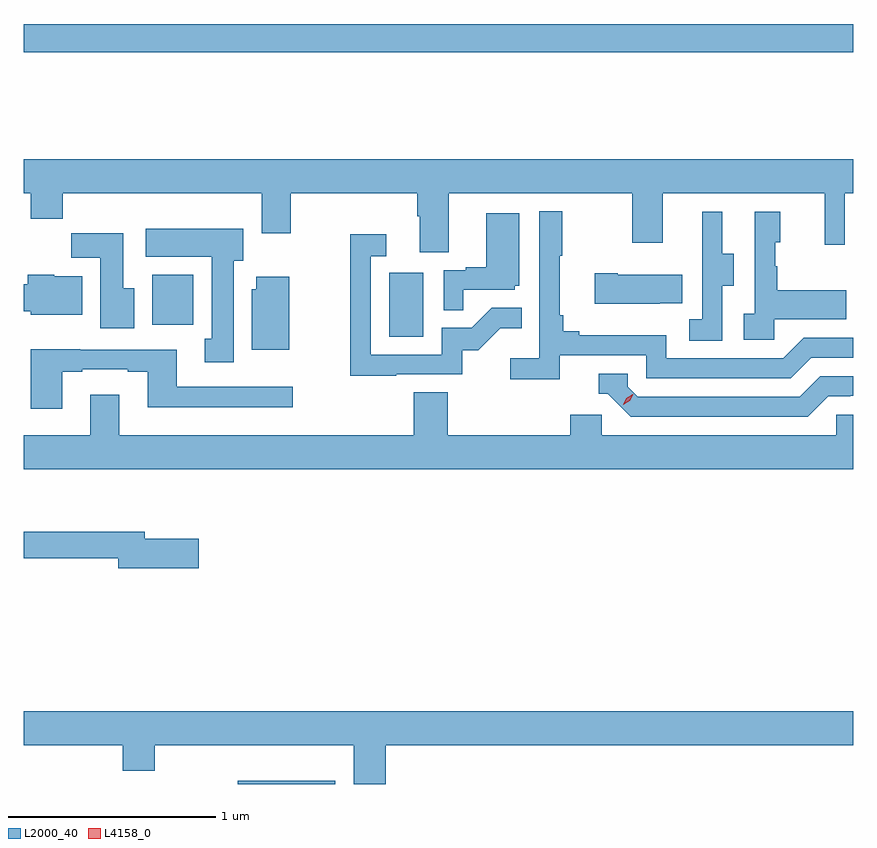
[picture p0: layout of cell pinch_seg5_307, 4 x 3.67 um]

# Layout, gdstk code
import gdstk
lib = gdstk.Library(unit=1e-6, precision=1e-09)
def R(c, l, rs):  # rectangles x0, y0, x1, y1
    for r in rs: c.add(gdstk.rectangle(r[:2], r[2:], *l))
def P(c, l, *ps):  # polygons
    for p in ps: c.add(gdstk.Polygon(p, *l))
L2000_40 = (2000, 40)
L4158_0 = (4158, 0)

pinch_seg5_307 = lib.new_cell('pinch_seg5_307')
R(pinch_seg5_307, L2000_40, [(911.619,872.557,912.088,872.572), (912.35,874.716,912.514,875.023), (911.207,874.772,911.404,875.014), (910.587,876.088,914.587,876.224)])
P(pinch_seg5_307, L2000_40, [(912.637,875.408),(913.522,875.408),(913.522,875.169),(913.669,875.169),(913.669,875.408),(914.45,875.408),(914.45,875.16),(914.547,875.16),(914.547,875.408),(914.587,875.408),(914.587,875.572),(910.587,875.572),(910.587,875.408),(910.619,875.408),(910.619,875.284),(910.775,875.284),(910.775,875.408),(911.735,875.408),(911.735,875.214),(911.875,875.214),(911.875,875.408),(912.485,875.408),(912.485,875.296),(912.497,875.296),(912.497,875.122),(912.637,875.122)],
  [(913.172,874.626),(913.59,874.626),(913.59,874.515),(914.287,874.515),(914.386,874.614),(914.587,874.614),(914.587,874.71),(914.349,874.71),(914.25,874.611),(913.686,874.611),(913.686,874.723),(913.267,874.723),(913.267,874.742),(913.19,874.742),(913.19,874.819),(913.171,874.819),(913.171,875.107),(913.183,875.107),(913.183,875.32),(913.074,875.32),(913.074,874.612),(912.933,874.612),(912.933,874.51),(913.172,874.51)],
  [(914.208,874.799),(914.555,874.799),(914.555,874.939),(914.221,874.939),(914.221,875.054),(914.211,875.054),(914.211,875.172),(914.236,875.172),(914.236,875.317),(914.112,875.317),(914.112,874.826),(914.061,874.826),(914.061,874.701),(914.208,874.701)],
  [(913.956,874.96),(914.011,874.96),(914.011,875.115),(913.957,875.115),(913.957,875.317),(913.859,875.317),(913.859,875.103),(913.86,875.103),(913.86,874.799),(913.797,874.799),(913.797,874.696),(913.956,874.696)],
  [(912.707,874.941),(912.954,874.941),(912.954,874.962),(912.976,874.962),(912.976,875.311),(912.818,875.311),(912.818,875.05),(912.719,875.05),(912.719,875.037),(912.612,875.037),(912.612,874.843),(912.707,874.843)],
  [(911.599,875.082),(911.644,875.082),(911.644,875.236),(911.175,875.236),(911.175,875.102),(911.492,875.102),(911.492,874.706),(911.459,874.706),(911.459,874.593),(911.599,874.593)],
  [(911.119,874.948),(911.065,874.948),(911.065,875.215),(910.816,875.215),(910.816,875.096),(910.955,875.096),(910.955,874.755),(911.119,874.755)],
  [(912.383,874.533),(912.702,874.533),(912.702,874.65),(912.778,874.65),(912.885,874.757),(912.989,874.757),(912.989,874.856),(912.845,874.856),(912.747,874.758),(912.603,874.758),(912.603,874.629),(912.261,874.629),(912.261,875.103),(912.334,875.103),(912.334,875.209),(912.16,875.209),(912.16,874.528),(912.383,874.528)],
  [(913.655,874.877),(913.763,874.877),(913.763,875.014),(913.453,875.014),(913.453,875.022),(913.341,875.022),(913.341,874.874),(913.655,874.874)],
  [(910.867,875.008),(910.734,875.008),(910.734,875.014),(910.604,875.014),(910.604,874.968),(910.587,874.968),(910.587,874.838),(910.62,874.838),(910.62,874.82),(910.867,874.82)],
  [(911.866,875.005),(911.708,875.005),(911.708,874.944),(911.687,874.944),(911.687,874.652),(911.866,874.652)],
  [(910.771,874.545),(910.867,874.545),(910.867,874.557),(911.087,874.557),(911.087,874.545),(911.183,874.545),(911.183,874.376),(911.884,874.376),(911.884,874.473),(911.323,874.473),(911.323,874.653),(910.859,874.653),(910.859,874.654),(910.619,874.654),(910.619,874.368),(910.771,874.368)],
  [(914.467,874.428),(914.574,874.428),(914.574,874.431),(914.587,874.431),(914.587,874.524),(914.43,874.524),(914.331,874.425),(913.548,874.425),(913.5,874.473),(913.5,874.536),(913.361,874.536),(913.361,874.44),(913.404,874.44),(913.515,874.329),(914.368,874.329)],
  [(914.587,874.338),(914.505,874.338),(914.505,874.24),(913.374,874.24),(913.374,874.338),(913.223,874.338),(913.223,874.24),(912.632,874.24),(912.632,874.448),(912.467,874.448),(912.467,874.24),(911.047,874.24),(911.047,874.435),(910.907,874.435),(910.907,874.24),(910.587,874.24),(910.587,874.076),(914.587,874.076)],
  [(911.431,873.741),(911.17,873.741),(911.17,873.775),(910.587,873.775),(910.587,873.646),(911.042,873.646),(911.042,873.599),(911.431,873.599)],
  [(912.332,872.744),(914.587,872.744),(914.587,872.908),(910.587,872.908),(910.587,872.744),(911.063,872.744),(911.063,872.62),(911.219,872.62),(911.219,872.744),(912.179,872.744),(912.179,872.557),(912.332,872.557)])
P(pinch_seg5_307, L4158_0, [(913.478,874.386),(913.478,874.387),(913.494,874.419),(913.525,874.438),(913.526,874.438),(913.526,874.437),(913.509,874.405),(913.478,874.386)])

lib.write_gds('pinch_seg5_307.gds')
